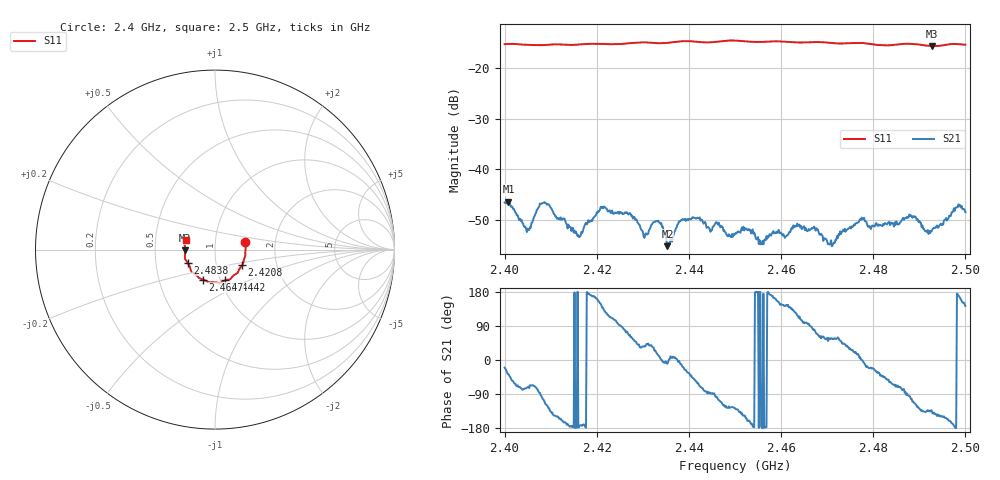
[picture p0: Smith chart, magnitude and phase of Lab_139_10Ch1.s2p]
# Hz S RI R 50
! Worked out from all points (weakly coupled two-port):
!   601 points, 2.4 GHz to 2.5 GHz, reference 50 ohm
!   highest |S21| = -46.42 dB at 2.4008 GHz (marker M1); lowest = -55.3 dB at 2.4353 GHz (marker M2)
!   lowest |S11| = -15.6 dB at 2.4928 GHz (marker M3), VSWR 1.40, Z = 35.8 - j0.362 ohm
!   |S11| at or under -10 dB: start of sweep to end of sweep
!   S12 and S22 are empty: the file has one direction only
!   S11 on the Smith chart (normalised r, x): 2.4 GHz: 1.40, +0.12; 2.4208 GHz: 1.33, -0.24; 2.4442 GHz: 1.05, -0.37; 2.4647 GHz: 0.83, -0.29; 2.4838 GHz: 0.73, -0.11; 2.5 GHz: 0.72, +0.08
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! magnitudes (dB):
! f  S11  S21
! 2.4 GHz  -15.2  -46.6
! 2.4008 GHz  -15.2  -46.4
! 2.4048 GHz  -15.4  -52.5
! 2.4085 GHz  -15.4  -46.7
! 2.4167 GHz  -15.2  -52.4
! 2.4208 GHz  -15.2  -47.5
! 2.427 GHz  -15.0  -48.9
! 2.4307 GHz  -14.9  -52.7
! 2.4333 GHz  -15.0  -50.2
! 2.4353 GHz  -15.0  -55.3
! 2.4387 GHz  -14.6  -49.9
! 2.4442 GHz  -14.9  -51.5
! 2.45 GHz  -14.5  -52.9
! 2.4557 GHz  -14.8  -54.6
! 2.4647 GHz  -14.9  -51.6
! 2.4667 GHz  -14.8  -51.7
! 2.4707 GHz  -15.0  -54.8
! 2.4775 GHz  -15.0  -49.6
! 2.4833 GHz  -15.5  -50.5
! 2.4838 GHz  -15.4  -50.6
! 2.4928 GHz  -15.6  -52.0
! 2.5 GHz  -15.3  -48.5
